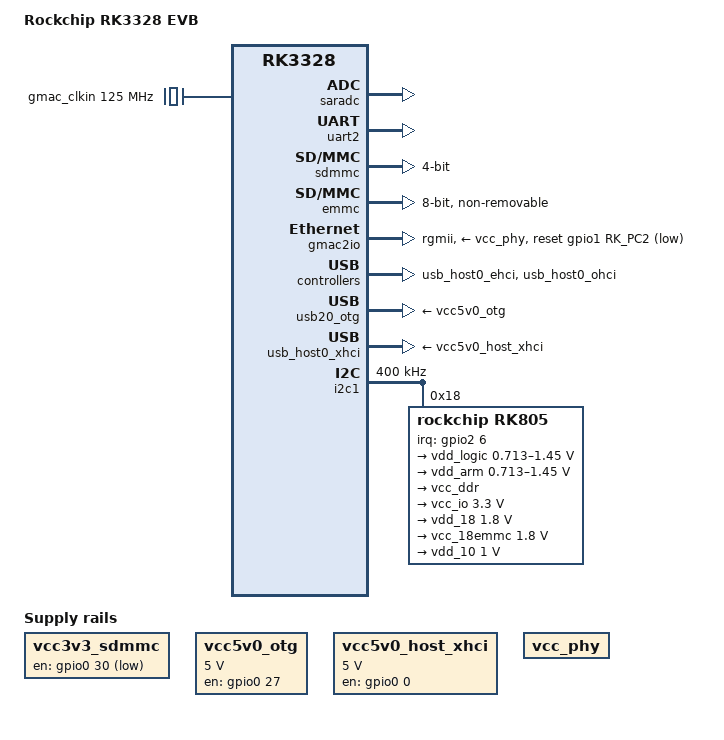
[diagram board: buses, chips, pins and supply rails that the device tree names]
// SPDX-License-Identifier: GPL-2.0+
/*
 * (C) Copyright 2016 Rockchip Electronics Co., Ltd
 */

/dts-v1/;
#include "rk3328.dtsi"

/ {
	model = "Rockchip RK3328 EVB";
	compatible = "rockchip,rk3328-evb", "rockchip,rk3328";

	chosen {
		stdout-path = &uart2;
	};

	gmac_clkin: external-gmac-clock {
		compatible = "fixed-clock";
		clock-frequency = <125000000>;
		clock-output-names = "gmac_clkin";
		#clock-cells = <0>;
	};

	vcc3v3_sdmmc: sdmmc-pwren {
		compatible = "regulator-fixed";
		regulator-name = "vcc3v3";
		gpio = <&gpio0 30 GPIO_ACTIVE_LOW>;
		regulator-always-on;
		regulator-boot-on;
	};

	vcc5v0_otg: vcc5v0-otg-drv {
		compatible = "regulator-fixed";
		enable-active-high;
		regulator-name = "vcc5v0_otg";
		gpio = <&gpio0 27 GPIO_ACTIVE_HIGH>;
		regulator-min-microvolt = <5000000>;
		regulator-max-microvolt = <5000000>;
	};

	vcc5v0_host_xhci: vcc5v0-host-xhci-drv {
		compatible = "regulator-fixed";
		enable-active-high;
		regulator-name = "vcc5v0_host_xhci";
		gpio = <&gpio0 0 GPIO_ACTIVE_HIGH>;
		regulator-min-microvolt = <5000000>;
		regulator-max-microvolt = <5000000>;
	};

	vcc_phy: vcc-phy-regulator {
		compatible = "regulator-fixed";
		regulator-name = "vcc_phy";
		regulator-always-on;
		regulator-boot-on;
	};
};

&saradc {
	status = "okay";
};

&uart2 {
	status = "okay";
};

&sdmmc {
	bus-width = <4>;
	cap-mmc-highspeed;
	cap-sd-highspeed;
	card-detect-delay = <200>;
	disable-wp;
	num-slots = <1>;
	pinctrl-names = "default";
	pinctrl-0 = <&sdmmc0_clk>, <&sdmmc0_cmd>, <&sdmmc0_dectn>, <&sdmmc0_bus4>;
	status = "okay";
};

&emmc {
	bus-width = <8>;
	cap-mmc-highspeed;
	supports-emmc;
	disable-wp;
	non-removable;
	num-slots = <1>;
	pinctrl-names = "default";
	pinctrl-0 = <&emmc_clk &emmc_cmd &emmc_bus8>;
	status = "okay";
};

&gmac2io {
	phy-supply = <&vcc_phy>;
	phy-mode = "rgmii";
	clock_in_out = "input";
	snps,reset-gpio = <&gpio1 RK_PC2 GPIO_ACTIVE_LOW>;
	snps,reset-active-low;
	snps,reset-delays-us = <0 10000 50000>;
	assigned-clocks = <&cru SCLK_MAC2IO>, <&cru SCLK_MAC2IO_EXT>;
	assigned-clock-parents = <&gmac_clkin>, <&gmac_clkin>;
	pinctrl-names = "default";
	pinctrl-0 = <&rgmiim1_pins>;
	tx_delay = <0x26>;
	rx_delay = <0x11>;
	status = "okay";
};

&usb_host0_ehci {
	status = "okay";
};

&usb_host0_ohci {
	status = "okay";
};

&usb20_otg {
	vbus-supply = <&vcc5v0_otg>;
	status = "okay";
};

&usb_host0_xhci {
	vbus-supply = <&vcc5v0_host_xhci>;
	status = "okay";
};

&i2c1 {
	clock-frequency = <400000>;
	i2c-scl-rising-time-ns = <168>;
	i2c-scl-falling-time-ns = <4>;
	status = "okay";

	rk805: pmic@18 {
		compatible = "rockchip,rk805";
		status = "okay";
		reg = <0x18>;
		interrupt-parent = <&gpio2>;
		interrupts = <6 IRQ_TYPE_LEVEL_LOW>;
		pinctrl-names = "default";
		pinctrl-0 = <&pmic_int_l>;
		rockchip,system-power-controller;
		wakeup-source;
		gpio-controller;
		#gpio-cells = <2>;
		#clock-cells = <1>;
		clock-output-names = "xin32k", "rk805-clkout2";

		regulators {
			vdd_logic: DCDC_REG1 {
				regulator-name = "vdd_logic";
				regulator-min-microvolt = <712500>;
				regulator-max-microvolt = <1450000>;
				regulator-ramp-delay = <6001>;
				regulator-boot-on;
				regulator-always-on;
				regulator-state-mem {
					regulator-on-in-suspend;
					regulator-suspend-microvolt = <1000000>;
				};
			};

			vdd_arm: DCDC_REG2 {
				regulator-name = "vdd_arm";
				regulator-min-microvolt = <712500>;
				regulator-max-microvolt = <1450000>;
				regulator-ramp-delay = <6001>;
				regulator-boot-on;
				regulator-always-on;
				regulator-state-mem {
					regulator-on-in-suspend;
					regulator-suspend-microvolt = <1000000>;
				};
			};

			vcc_ddr: DCDC_REG3 {
				regulator-name = "vcc_ddr";
				regulator-boot-on;
				regulator-always-on;
				regulator-state-mem {
					regulator-on-in-suspend;
				};
			};

			vcc_io: DCDC_REG4 {
				regulator-name = "vcc_io";
				regulator-min-microvolt = <3300000>;
				regulator-max-microvolt = <3300000>;
				regulator-boot-on;
				regulator-always-on;
				regulator-state-mem {
					regulator-on-in-suspend;
					regulator-suspend-microvolt = <3300000>;
				};
			};

			vdd_18: LDO_REG1 {
				regulator-name = "vdd_18";
				regulator-min-microvolt = <1800000>;
				regulator-max-microvolt = <1800000>;
				regulator-boot-on;
				regulator-always-on;
				regulator-state-mem {
					regulator-on-in-suspend;
					regulator-suspend-microvolt = <1800000>;
				};
			};

			vcc_18emmc: LDO_REG2 {
				regulator-name = "vcc_18emmc";
				regulator-min-microvolt = <1800000>;
				regulator-max-microvolt = <1800000>;
				regulator-boot-on;
				regulator-always-on;
				regulator-state-mem {
					regulator-on-in-suspend;
					regulator-suspend-microvolt = <1800000>;
				};
			};

			vdd_10: LDO_REG3 {
				regulator-name = "vdd_10";
				regulator-min-microvolt = <1000000>;
				regulator-max-microvolt = <1000000>;
				regulator-boot-on;
				regulator-always-on;
				regulator-state-mem {
					regulator-on-in-suspend;
					regulator-suspend-microvolt = <1000000>;
				};
			};
		};
	};
};

&pinctrl {
	pmic {
		pmic_int_l: pmic-int-l {
		rockchip,pins =
			<2 RK_PA6 RK_FUNC_GPIO &pcfg_pull_up>;	/* gpio2_a6 */
		};
	};
};

